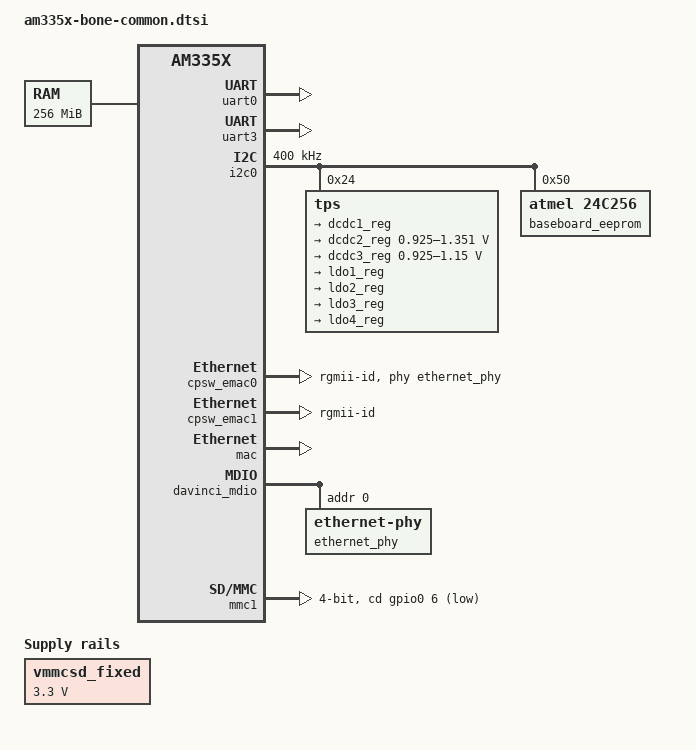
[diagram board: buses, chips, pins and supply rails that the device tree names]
// SPDX-License-Identifier: GPL-2.0-only
/*
 * Copyright (C) 2012 Texas Instruments Incorporated - http://www.ti.com/
 */

#include <dt-bindings/net/ti-dp83867.h>

/ {
	cpus {
		cpu@0 {
			cpu0-supply = <&dcdc2_reg>;
		};
	};

	memory@80000000 {
		device_type = "memory";
		reg = <0x80000000 0x10000000>; /* 256 MB */
	};

	chosen {
		stdout-path = &uart3;
	};

	vmmcsd_fixed: fixedregulator@0 {
		compatible = "regulator-fixed";
		regulator-name = "vmmcsd_fixed";
		regulator-min-microvolt = <3300000>;
		regulator-max-microvolt = <3300000>;
	};
};

&am33xx_pinmux {
	pinctrl-names = "default";
	pinctrl-0 = <&clkout2_pin>;

	user_leds_s0: user_leds_s0 {
		pinctrl-single,pins = <
			AM33XX_PADCONF(AM335X_PIN_GPMC_A5, PIN_OUTPUT_PULLDOWN, MUX_MODE7)	/* gpmc_a5.gpio1_21 */
			AM33XX_PADCONF(AM335X_PIN_GPMC_A6, PIN_OUTPUT_PULLUP, MUX_MODE7)	/* gpmc_a6.gpio1_22 */
			AM33XX_PADCONF(AM335X_PIN_GPMC_A7, PIN_OUTPUT_PULLDOWN, MUX_MODE7)	/* gpmc_a7.gpio1_23 */
			AM33XX_PADCONF(AM335X_PIN_GPMC_A8, PIN_OUTPUT_PULLUP, MUX_MODE7)	/* gpmc_a8.gpio1_24 */
		>;
	};

	i2c0_pins: pinmux_i2c0_pins {
		pinctrl-single,pins = <
			AM33XX_PADCONF(AM335X_PIN_I2C0_SDA, PIN_INPUT_PULLUP, MUX_MODE0)	/* i2c0_sda.i2c0_sda */
			AM33XX_PADCONF(AM335X_PIN_I2C0_SCL, PIN_INPUT_PULLUP, MUX_MODE0)	/* i2c0_scl.i2c0_scl */
		>;
	};

	i2c2_pins: pinmux_i2c2_pins {
		pinctrl-single,pins = <
			AM33XX_PADCONF(AM335X_PIN_UART1_CTSN, PIN_INPUT_PULLUP, MUX_MODE3)	/* uart1_ctsn.i2c2_sda */
			AM33XX_PADCONF(AM335X_PIN_UART1_RTSN, PIN_INPUT_PULLUP, MUX_MODE3)	/* uart1_rtsn.i2c2_scl */
		>;
	};

	uart0_pins: pinmux_uart0_pins {
		pinctrl-single,pins = <
			AM33XX_PADCONF(AM335X_PIN_UART0_RXD, PIN_INPUT_PULLUP, MUX_MODE0)
			AM33XX_PADCONF(AM335X_PIN_UART0_TXD, PIN_OUTPUT_PULLDOWN, MUX_MODE0)
		>;
	};

	uart3_pins: pinmux_uart3_pins {
		pinctrl-single,pins = <
			0x150 0x21  /* UART3_RXD */
			0x154 0x01  /* UART3_TXD */
		>;
	};

	clkout2_pin: pinmux_clkout2_pin {
		pinctrl-single,pins = <
			AM33XX_PADCONF(AM335X_PIN_XDMA_EVENT_INTR1, PIN_OUTPUT_PULLDOWN, MUX_MODE3)	/* xdma_event_intr1.clkout2 */
		>;
	};

	cpsw_default: cpsw_default {
		pinctrl-single,pins = <
			/* Slave 1 */
			0x104 (PIN_INPUT_PULLUP | MUX_MODE7)	/* mmc0_cmd.gpio2_31 */
			0x114 (PIN_OUTPUT_PULLDOWN | MUX_MODE2)	/* mii1_txen.rgmii1_tctl */
			0x118 (PIN_INPUT_PULLUP | MUX_MODE2)	/* mii1_rxdv.rgmii1_rctl */
			0x11c (PIN_OUTPUT_PULLDOWN | MUX_MODE2)	/* mii1_txd3.rgmii1_td3 */
			0x120 (PIN_OUTPUT_PULLDOWN | MUX_MODE2)	/* mii1_txd2.rgmii1_td2 */
			0x124 (PIN_OUTPUT_PULLDOWN | MUX_MODE2)	/* mii1_txd1.rgmii1_td1 */
			0x128 (PIN_OUTPUT_PULLDOWN | MUX_MODE2)	/* mii1_txd0.rgmii1_td0 */
			0x12c (PIN_INPUT_PULLUP | MUX_MODE2)	/* mii1_txclk.rgmii1_tclk */
			0x130 (PIN_INPUT_PULLUP | MUX_MODE2)	/* mii1_rxclk.rgmii1_rclk */
			0x134 (PIN_INPUT_PULLUP | MUX_MODE2)	/* mii1_rxd3.rgmii1_rd3 */
			0x138 (PIN_INPUT_PULLUP | MUX_MODE2)	/* mii1_rxd2.rgmii1_rd2 */
			0x13c (PIN_INPUT_PULLUP | MUX_MODE2)	/* mii1_rxd1.rgmii1_rd1 */
			0x140 (PIN_INPUT_PULLUP | MUX_MODE2)	/* mii1_rxd0.rgmii1_rd0 */

			/* Slave 2 */
			0x40 (PIN_OUTPUT_PULLDOWN | MUX_MODE2)	/* gpmc_a0.rgmii2_tctl */
			0x44 (PIN_INPUT_PULLUP | MUX_MODE2)	/* gpmc_a1.rgmii2_rctl */
			0x48 (PIN_OUTPUT_PULLDOWN | MUX_MODE2)	/* gpmc_a2.rgmii2_td3 */
			0x4c (PIN_OUTPUT_PULLDOWN | MUX_MODE2)	/* gpmc_a3.rgmii2_td2 */
			0x50 (PIN_OUTPUT_PULLDOWN | MUX_MODE2)	/* gpmc_a4.rgmii2_td1 */
			0x54 (PIN_OUTPUT_PULLDOWN | MUX_MODE2)	/* gpmc_a5.rgmii2_td0 */
			0x58 (PIN_OUTPUT_PULLDOWN | MUX_MODE2)	/* gpmc_a6.rgmii2_tclk */
			0x5c (PIN_INPUT_PULLUP | MUX_MODE2)	/* gpmc_a7.rgmii2_rclk */
			0x60 (PIN_INPUT_PULLUP | MUX_MODE2)	/* gpmc_a8.rgmii2_rd3 */
			0x64 (PIN_INPUT_PULLUP | MUX_MODE2)	/* gpmc_a9.rgmii2_rd2 */
			0x68 (PIN_INPUT_PULLUP | MUX_MODE2)	/* gpmc_a10.rgmii2_rd1 */
			0x6c (PIN_INPUT_PULLUP | MUX_MODE2)	/* gpmc_a11.rgmii2_rd0 */
		>;
	};

	cpsw_sleep: cpsw_sleep {
		pinctrl-single,pins = <
			/* Slave 1 reset value */
			AM33XX_PADCONF(AM335X_PIN_MII1_RX_ER, PIN_INPUT_PULLDOWN, MUX_MODE7)
			AM33XX_PADCONF(AM335X_PIN_MII1_TX_EN, PIN_INPUT_PULLDOWN, MUX_MODE7)
			AM33XX_PADCONF(AM335X_PIN_MII1_RX_DV, PIN_INPUT_PULLDOWN, MUX_MODE7)
			AM33XX_PADCONF(AM335X_PIN_MII1_TXD3, PIN_INPUT_PULLDOWN, MUX_MODE7)
			AM33XX_PADCONF(AM335X_PIN_MII1_TXD2, PIN_INPUT_PULLDOWN, MUX_MODE7)
			AM33XX_PADCONF(AM335X_PIN_MII1_TXD1, PIN_INPUT_PULLDOWN, MUX_MODE7)
			AM33XX_PADCONF(AM335X_PIN_MII1_TXD0, PIN_INPUT_PULLDOWN, MUX_MODE7)
			AM33XX_PADCONF(AM335X_PIN_MII1_TX_CLK, PIN_INPUT_PULLDOWN, MUX_MODE7)
			AM33XX_PADCONF(AM335X_PIN_MII1_RX_CLK, PIN_INPUT_PULLDOWN, MUX_MODE7)
			AM33XX_PADCONF(AM335X_PIN_MII1_RXD3, PIN_INPUT_PULLDOWN, MUX_MODE7)
			AM33XX_PADCONF(AM335X_PIN_MII1_RXD2, PIN_INPUT_PULLDOWN, MUX_MODE7)
			AM33XX_PADCONF(AM335X_PIN_MII1_RXD1, PIN_INPUT_PULLDOWN, MUX_MODE7)
			AM33XX_PADCONF(AM335X_PIN_MII1_RXD0, PIN_INPUT_PULLDOWN, MUX_MODE7)
		>;
	};

	davinci_mdio_default: davinci_mdio_default {
		pinctrl-single,pins = <
			/* MDIO */
			AM33XX_PADCONF(AM335X_PIN_MDIO, PIN_INPUT_PULLUP | SLEWCTRL_FAST, MUX_MODE0)
			AM33XX_PADCONF(AM335X_PIN_MDC, PIN_OUTPUT_PULLUP, MUX_MODE0)
		>;
	};

	davinci_mdio_sleep: davinci_mdio_sleep {
		pinctrl-single,pins = <
			/* MDIO reset value */
			AM33XX_PADCONF(AM335X_PIN_MDIO, PIN_INPUT_PULLDOWN, MUX_MODE7)
			AM33XX_PADCONF(AM335X_PIN_MDC, PIN_INPUT_PULLDOWN, MUX_MODE7)
		>;
	};

	mmc1_pins: pinmux_mmc1_pins {
		pinctrl-single,pins = <
			AM33XX_PADCONF(AM335X_PIN_SPI0_CS1, PIN_INPUT, MUX_MODE7)		/* spio0_cs1.gpio0_6 */
			AM33XX_PADCONF(AM335X_PIN_MMC0_DAT0, PIN_INPUT_PULLUP, MUX_MODE0)
			AM33XX_PADCONF(AM335X_PIN_MMC0_DAT1, PIN_INPUT_PULLUP, MUX_MODE0)
			AM33XX_PADCONF(AM335X_PIN_MMC0_DAT2, PIN_INPUT_PULLUP, MUX_MODE0)
			AM33XX_PADCONF(AM335X_PIN_MMC0_DAT3, PIN_INPUT_PULLUP, MUX_MODE0)
			AM33XX_PADCONF(AM335X_PIN_MMC0_CMD, PIN_INPUT_PULLUP, MUX_MODE0)
			AM33XX_PADCONF(AM335X_PIN_MMC0_CLK, PIN_INPUT_PULLUP, MUX_MODE0)
		>;
	};

	emmc_pins: pinmux_emmc_pins {
		pinctrl-single,pins = <
			AM33XX_PADCONF(AM335X_PIN_GPMC_CSN1, PIN_INPUT_PULLUP, MUX_MODE2) /* gpmc_csn1.mmc1_clk */
			AM33XX_PADCONF(AM335X_PIN_GPMC_CSN2, PIN_INPUT_PULLUP, MUX_MODE2) /* gpmc_csn2.mmc1_cmd */
			AM33XX_PADCONF(AM335X_PIN_GPMC_AD0, PIN_INPUT_PULLUP, MUX_MODE1) /* gpmc_ad0.mmc1_dat0 */
			AM33XX_PADCONF(AM335X_PIN_GPMC_AD1, PIN_INPUT_PULLUP, MUX_MODE1) /* gpmc_ad1.mmc1_dat1 */
			AM33XX_PADCONF(AM335X_PIN_GPMC_AD2, PIN_INPUT_PULLUP, MUX_MODE1) /* gpmc_ad2.mmc1_dat2 */
			AM33XX_PADCONF(AM335X_PIN_GPMC_AD3, PIN_INPUT_PULLUP, MUX_MODE1) /* gpmc_ad3.mmc1_dat3 */
			AM33XX_PADCONF(AM335X_PIN_GPMC_AD4, PIN_INPUT_PULLUP, MUX_MODE1) /* gpmc_ad4.mmc1_dat4 */
			AM33XX_PADCONF(AM335X_PIN_GPMC_AD5, PIN_INPUT_PULLUP, MUX_MODE1) /* gpmc_ad5.mmc1_dat5 */
			AM33XX_PADCONF(AM335X_PIN_GPMC_AD6, PIN_INPUT_PULLUP, MUX_MODE1) /* gpmc_ad6.mmc1_dat6 */
			AM33XX_PADCONF(AM335X_PIN_GPMC_AD7, PIN_INPUT_PULLUP, MUX_MODE1) /* gpmc_ad7.mmc1_dat7 */
		>;
	};
};

&uart0 {
	pinctrl-names = "default";
	pinctrl-0 = <&uart0_pins>;

	status = "okay";
};

&uart3 {
	pinctrl-names = "default";
	pinctrl-0 = <&uart3_pins>;

	status = "okay";
};

&i2c0 {
	pinctrl-names = "default";
	pinctrl-0 = <&i2c0_pins>;

	status = "okay";
	clock-frequency = <400000>;

	tps: tps@24 {
		reg = <0x24>;
	};

	baseboard_eeprom: baseboard_eeprom@50 {
		compatible = "atmel,24c256";
		reg = <0x50>;

		#address-cells = <1>;
		#size-cells = <1>;
		baseboard_data: baseboard_data@0 {
			reg = <0 0x100>;
		};
	};
};

/include/ "tps65217.dtsi"

&tps {
	/*
	 * Configure pmic to enter OFF-state instead of SLEEP-state ("RTC-only
	 * mode") at poweroff.  Most BeagleBone versions do not support RTC-only
	 * mode and risk hardware damage if this mode is entered.
	 *
	 * For details, see linux-omap mailing list May 2015 thread
	 *	[PATCH] ARM: dts: am335x-bone* enable pmic-shutdown-controller
	 * In particular, messages:
	 *	http://www.spinics.net/lists/linux-omap/msg118585.html
	 *	http://www.spinics.net/lists/linux-omap/msg118615.html
	 *
	 * You can override this later with
	 *	&tps {  /delete-property/ ti,pmic-shutdown-controller;  }
	 * if you want to use RTC-only mode and made sure you are not affected
	 * by the hardware problems. (Tip: double-check by performing a current
	 * measurement after shutdown: it should be less than 1 mA.)
	 */

	interrupts = <7>; /* NMI */
	interrupt-parent = <&intc>;

	ti,pmic-shutdown-controller;

	charger {
		status = "okay";
	};

	pwrbutton {
		status = "okay";
	};

	regulators {
		dcdc1_reg: regulator@0 {
			regulator-name = "vdds_dpr";
			regulator-always-on;
		};

		dcdc2_reg: regulator@1 {
			/* VDD_MPU voltage limits 0.95V - 1.26V with +/-4% tolerance */
			regulator-name = "vdd_mpu";
			regulator-min-microvolt = <925000>;
			regulator-max-microvolt = <1351500>;
			regulator-boot-on;
			regulator-always-on;
		};

		dcdc3_reg: regulator@2 {
			/* VDD_CORE voltage limits 0.95V - 1.1V with +/-4% tolerance */
			regulator-name = "vdd_core";
			regulator-min-microvolt = <925000>;
			regulator-max-microvolt = <1150000>;
			regulator-boot-on;
			regulator-always-on;
		};

		ldo1_reg: regulator@3 {
			regulator-name = "vio,vrtc,vdds";
			regulator-always-on;
		};

		ldo2_reg: regulator@4 {
			regulator-name = "vdd_3v3aux";
			regulator-always-on;
		};

		ldo3_reg: regulator@5 {
			regulator-name = "vdd_1v8";
			regulator-always-on;
		};

		ldo4_reg: regulator@6 {
			regulator-name = "vdd_3v3a";
			regulator-always-on;
		};
	};
};

&cpsw_emac0 {
	phy-handle = <&ethernet_phy>;
	phy_id = <&davinci_mdio>, <1>;
	phy-mode = "rgmii-id";
};

&cpsw_emac1 {
//	phy-handle = <&ethphy0>;
	phy_id = <&davinci_mdio>, <0>;
	phy-mode = "rgmii-id";
};

&mac {
	slaves = <1>;
	pinctrl-names = "default", "sleep";
	pinctrl-0 = <&cpsw_default>;
	pinctrl-1 = <&cpsw_sleep>;
	status = "okay";
};

&davinci_mdio {
	pinctrl-names = "default", "sleep";
	pinctrl-0 = <&davinci_mdio_default>;
	pinctrl-1 = <&davinci_mdio_sleep>;
	status = "okay";



	ethernet_phy: ethernet-phy@0 {
		reg = <0>;
		ti,rx-internal-delay = <DP83867_RGMIIDCTL_2_25_NS>;
		ti,tx-internal-delay = <DP83867_RGMIIDCTL_2_75_NS>;
		tx-fifo-depth = <DP83867_PHYCR_FIFO_DEPTH_4_B_NIB>;
	};
};

&mmc1 {
	status = "okay";
	bus-width = <0x4>;
	pinctrl-names = "default";
	pinctrl-0 = <&mmc1_pins>;
	cd-gpios = <&gpio0 6 GPIO_ACTIVE_LOW>;
};
